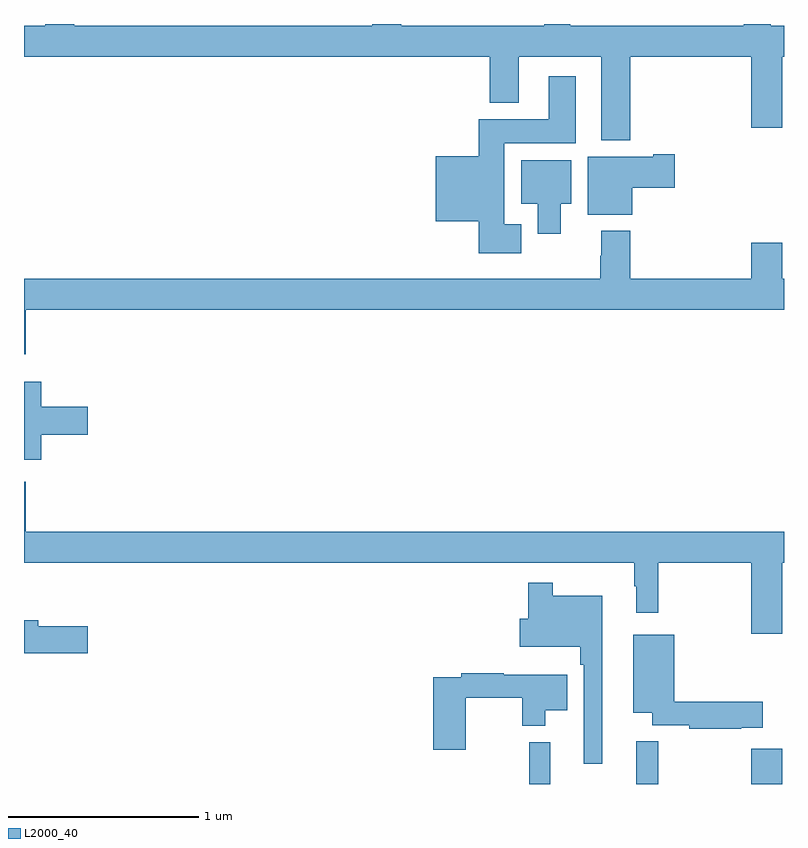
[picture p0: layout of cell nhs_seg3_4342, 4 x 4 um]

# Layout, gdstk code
import gdstk
lib = gdstk.Library(unit=1e-6, precision=1e-09)
def R(c, l, rs):  # rectangles x0, y0, x1, y1
    for r in rs: c.add(gdstk.rectangle(r[:2], r[2:], *l))
def P(c, l, *ps):  # polygons
    for p in ps: c.add(gdstk.Polygon(p, *l))
L2000_40 = (2000, 40)

nhs_seg3_4342 = lib.new_cell('nhs_seg3_4342')
R(nhs_seg3_4342, L2000_40, [(343.659,718.4,343.769,718.621), (344.222,718.4,344.339,718.624), (344.828,718.4,344.992,718.585)])
P(nhs_seg3_4342, L2000_40, [(344.039,721.787),(344.192,721.787),(344.192,722.228),(344.828,722.228),(344.828,721.854),(344.992,721.854),(344.992,722.228),(345,722.228),(345,722.392),(344.929,722.392),(344.929,722.4),(344.789,722.4),(344.789,722.392),(343.875,722.392),(343.875,722.4),(343.737,722.4),(343.737,722.392),(342.985,722.392),(342.985,722.4),(342.833,722.4),(342.833,722.392),(341.264,722.392),(341.264,722.4),(341.111,722.4),(341.111,722.392),(341,722.392),(341,722.228),(343.451,722.228),(343.451,721.985),(343.603,721.985),(343.603,722.228),(344.039,722.228)],
  [(343.618,721.345),(343.528,721.345),(343.528,721.772),(343.903,721.772),(343.903,722.125),(343.763,722.125),(343.763,721.9),(343.394,721.9),(343.394,721.705),(343.166,721.705),(343.166,721.361),(343.394,721.361),(343.394,721.193),(343.618,721.193)],
  [(344.2,721.537),(344.425,721.537),(344.425,721.715),(344.312,721.715),(344.312,721.702),(343.967,721.702),(343.967,721.397),(344.2,721.397)],
  [(343.825,721.454),(343.879,721.454),(343.879,721.684),(343.616,721.684),(343.616,721.454),(343.703,721.454),(343.703,721.296),(343.825,721.296)],
  [(341.009,720.896),(345,720.896),(345,721.06),(344.992,721.06),(344.992,721.249),(344.828,721.249),(344.828,721.06),(344.192,721.06),(344.192,721.312),(344.039,721.312),(344.039,721.181),(344.032,721.181),(344.032,721.06),(341,721.06),(341,720.663),(341.009,720.663)],
  [(341.092,720.239),(341.335,720.239),(341.335,720.386),(341.092,720.386),(341.092,720.517),(341,720.517),(341,720.107),(341.092,720.107)],
  [(344.992,719.564),(345,719.564),(345,719.728),(341.009,719.728),(341.009,719.992),(341,719.992),(341,719.564),(344.211,719.564),(344.211,719.441),(344.222,719.441),(344.222,719.301),(344.339,719.301),(344.339,719.564),(344.828,719.564),(344.828,719.19),(344.992,719.19)],
  [(344.044,719.392),(343.783,719.392),(343.783,719.458),(343.654,719.458),(343.654,719.271),(343.61,719.271),(343.61,719.123),(343.927,719.123),(343.927,719.027),(343.947,719.027),(343.947,718.506),(344.044,718.506)],
  [(341.335,719.229),(341.074,719.229),(341.074,719.263),(341,719.263),(341,719.087),(341.335,719.087)],
  [(344.774,718.697),(344.887,718.697),(344.887,718.832),(344.422,718.832),(344.422,719.185),(344.207,719.185),(344.207,718.775),(344.306,718.775),(344.306,718.709),(344.502,718.709),(344.502,718.69),(344.774,718.69)],
  [(343.324,718.854),(343.622,718.854),(343.622,718.706),(343.744,718.706),(343.744,718.787),(343.858,718.787),(343.858,718.975),(343.526,718.975),(343.526,718.982),(343.3,718.982),(343.3,718.962),(343.154,718.962),(343.154,718.581),(343.324,718.581)])

lib.write_gds('nhs_seg3_4342.gds')
